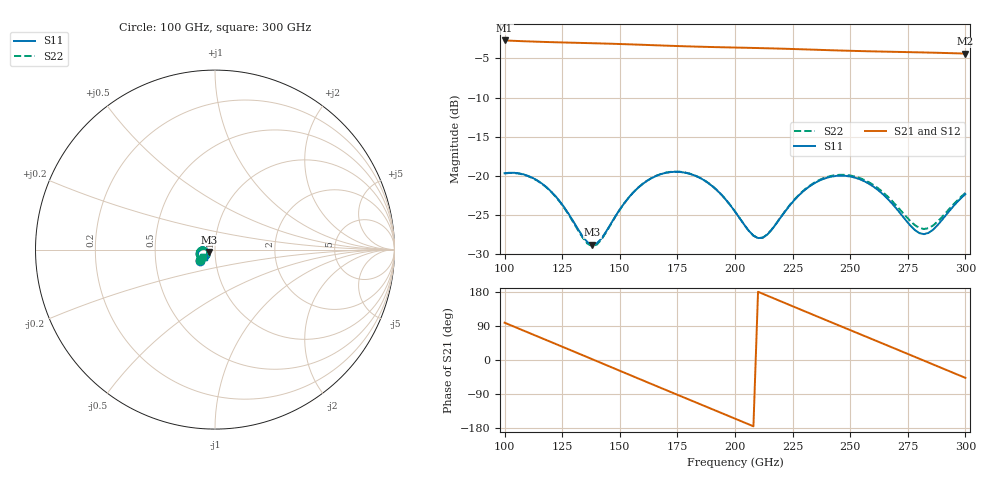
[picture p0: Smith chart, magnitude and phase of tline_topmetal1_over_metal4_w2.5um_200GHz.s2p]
#  GHZ S DB R 50
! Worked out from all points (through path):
!   101 points, 100 GHz to 300 GHz, reference 50 ohm
!   highest |S21| = -2.72 dB at 100 GHz (marker M1); lowest = -4.4 dB at 300 GHz (marker M2)
!   group delay of S21, straight-line fit = 7.02 ps
!   lowest |S11| = -28.8 dB at 138 GHz (marker M3), VSWR 1.08, Z = 46.7 - j1.28 ohm
!   |S11| at or under -10 dB: start of sweep to end of sweep
!   |S22| runs from -29.0 to -19.4 dB; largest |S21 - S12| = 0
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100  -19.65 -144.0  -2.72 98.4  -2.72 98.4  -19.68 -144.4
108  -19.78 -159.5  -2.81 78.2  -2.81 78.2  -19.81 -159.9
116  -20.92 -173.4  -2.89 57.9  -2.89 57.9  -20.96 -173.9
126  -24.05 176.2  -2.98 32.6  -2.98 32.6  -24.12 175.7
134  -27.76 -174.2  -3.04 12.3  -3.04 12.3  -27.92 -174.5
138  -28.77 -158.0  -3.07 2.2  -3.07 2.2  -28.95 -157.7
152  -23.45 -129.5  -3.19 -33.5  -3.19 -33.5  -23.45 -128.8
168  -19.75 -150.1  -3.36 -74.1  -3.36 -74.1  -19.73 -149.6
176  -19.48 -163.6  -3.44 -94.3  -3.44 -94.3  -19.46 -163.2
184  -20.13 -176.5  -3.51 -114.4  -3.51 -114.4  -20.11 -176.1
200  -24.54 169.8  -3.62 -154.7  -3.62 -154.7  -24.52 170.2
208  -27.60 -175.4  -3.67 -175.0  -3.67 -175.0  -27.61 -174.7
212  -27.88 -160.2  -3.70 174.9  -3.70 174.9  -27.87 -159.3
222  -24.42 -139.9  -3.78 149.5  -3.78 149.5  -24.37 -138.9
234  -21.00 -148.3  -3.89 119.2  -3.89 119.2  -20.92 -147.2
242  -20.07 -159.6  -3.97 99.0  -3.97 99.0  -19.97 -158.4
250  -20.07 -171.6  -4.04 78.9  -4.04 78.9  -19.93 -170.3
258  -20.96 177.4  -4.10 58.8  -4.10 58.8  -20.78 179.0
268  -23.46 169.4  -4.16 33.7  -4.16 33.7  -23.13 171.3
282  -27.42 -167.1  -4.25 -1.7  -4.25 -1.7  -26.76 -167.7
290  -25.55 -147.0  -4.31 -21.9  -4.31 -21.9  -25.18 -149.2
300  -22.31 -146.1  -4.39 -47.1  -4.39 -47.1  -22.16 -147.7
